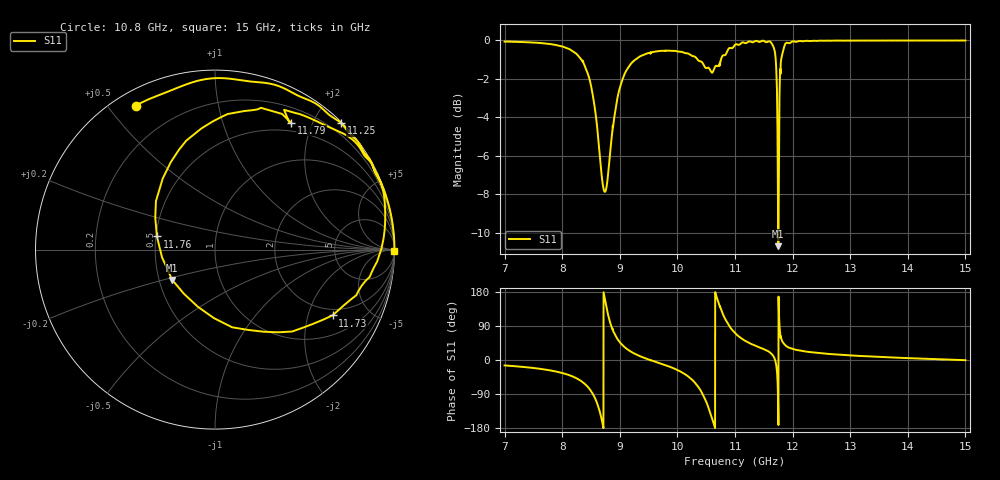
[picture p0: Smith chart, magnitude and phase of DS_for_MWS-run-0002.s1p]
! TOUCHSTONE file generated by CST DESIGN STUDIO
! Date and time: Mon Feb 10 16:55:46 2025
! Project name: C:\Work\MatlabApps\UnitCellType2OptimizationMatlab\CST\unitcell.cst
! Tree item: Tasks\Sweep1\SPara1\S-Parameters
! Header version: 2024
! Port assignment regex: !\s*Touchstone port\s*([0-9]+)\s*=\s*(CST MWS port|CST DES external port|CST DES block port)\s*(.+)\s* \(\"(.*)\"\)(\s*mode\s*([0-9]+))?.*
! Touchstone port assignment:
! Touchstone port 1 = CST DES external port 1 ("")
# GHz S MA R 50
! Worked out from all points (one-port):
!   4001 points, 7 GHz to 15 GHz, reference 50 ohm
!   lowest |S11| = -10.7 dB at 11.75 GHz (marker M1), VSWR 1.83, Z = 29.3 - j10.8 ohm
!   |S11| at or under -10 dB: 11.749 GHz to 11.7551 GHz (6.094 MHz wide, 0.0519 % of centre)
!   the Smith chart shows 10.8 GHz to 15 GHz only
!   S11 on the Smith chart (normalised r, x): 10.8 GHz: 0.06, +0.59; 11.25 GHz: 0.02, +2.41; 11.73 GHz: 1.72, -2.89; 11.76 GHz: 0.51, +0.08; 11.79 GHz: 0.38, +1.70; 15 GHz: open
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7  0.9927 -14.3
8  0.9649 -34.2
8.286  0.9093 -51.5
8.486  0.7802 -78.9
8.592  0.6235 -108.5
8.694  0.434 -162.8
8.84  0.5253 95.0
9  0.7528 46.9
9.358  0.9104 9.6
10  0.9366 -26.4
10.28  0.9097 -55.8
10.48  0.8508 -103.3
10.556  0.8443 -133.6
10.648  0.8513 -176.6
10.796  0.9153 118.9
11  0.9743 71.5
11.246  0.9943 45.1
11.664  0.9655 10.8
11.698  0.9211 -0.8
11.728  0.7505 -29.2
11.752  0.2921 -144.7
11.756  0.3319 167.3
11.788  0.8245 59.1
11.852  0.9608 42.6
12  0.9946 29.3
13  0.9988 12.1
14  0.9998 5.0
15  0.9992 -0.5
